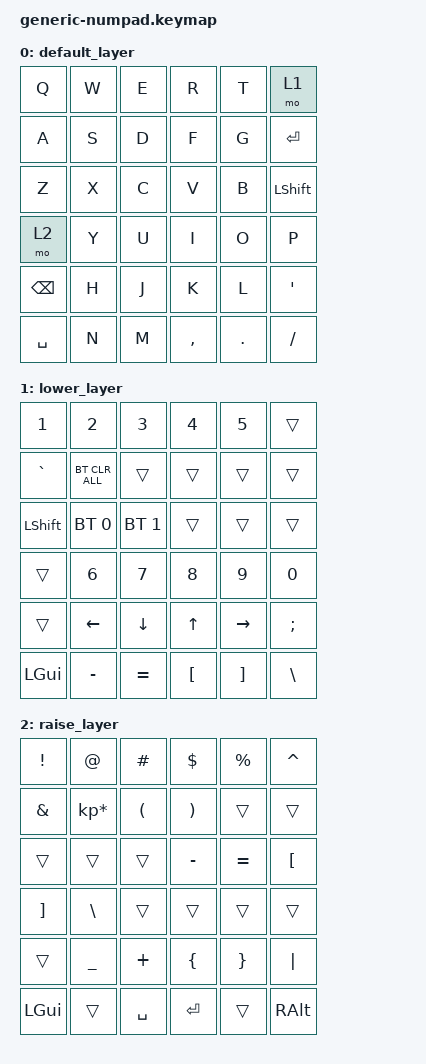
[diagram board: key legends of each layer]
/*
 * Copyright (c) 2020 The ZMK Contributors
 *
 * SPDX-License-Identifier: MIT
 */

#include <behaviors.dtsi>
#include <dt-bindings/zmk/bt.h>
#include <dt-bindings/zmk/keys.h>

/ {
    keymap {
        compatible = "zmk,keymap";

        default_layer {
            // -----------------------------------------------------------------------------------------
            // |      |  Q  |  W  |  E  |  R  |  T  |   |  Y  |  U   |  I  |  O  |  P  |      |
            // |      |  A  |  S  |  D  |  F  |  G  |   |  H  |  J   |  K  |  L  |  ;  |      |
            // |      |  Z  |  X  |  C  |  V  |  B  |   |  N  |  M   |  ,  |  .  |  /  |      |
            //                    | GUI | LWR | SPC |   | ENT | RSE  | ALT |

            bindings = <
&kp Q          &kp W  &kp E  &kp R      &kp T       &mo 1
&kp A          &kp S  &kp D  &kp F      &kp G       &kp ENTER
&kp Z          &kp X  &kp C  &kp V      &kp B       &kp LEFT_SHIFT
&mo 2          &kp Y  &kp U  &kp I      &kp O       &kp P
&kp BACKSPACE  &kp H  &kp J  &kp K      &kp L       &kp SQT
&kp SPACE      &kp N  &kp M  &kp COMMA  &kp PERIOD  &kp SLASH
            >;
        };

        lower_layer {
            // -----------------------------------------------------------------------------------------
            // |      |  1  |  2  |  3  |  4  |  5  |   |  6  |  7  |  8  |  9  |  0  |    P |
            // |      | BT1 | BT2 | BT3 | BT4 | BT5 |   | LFT | DWN |  UP | RGT |     |      |
            // |      |     |     |     |     |     |   |     |     |     |     |     |      |
            //                    | GUI |     | SPC |   | ENT |     | ALT |

            bindings = <
&kp N1          &kp N2          &kp N3        &kp N4            &kp N5             &trans
&kp GRAVE       &bt BT_CLR_ALL  &trans        &trans            &trans             &trans
&kp LEFT_SHIFT  &bt BT_SEL 0    &bt BT_SEL 1  &trans            &trans             &trans
&trans          &kp N6          &kp N7        &kp N8            &kp N9             &kp N0
&trans          &kp LEFT        &kp DOWN      &kp UP_ARROW      &kp RIGHT          &kp SEMICOLON
&kp LGUI        &kp MINUS       &kp EQUAL     &kp LEFT_BRACKET  &kp RIGHT_BRACKET  &kp BACKSLASH
            >;
        };

        raise_layer {
            // -----------------------------------------------------------------------------------------
            // |      |  !  |  @  |  #  |  $  |  %  |   |  ^  |  &  |  *  |  (  |  )  |      |
            // |      |     |     |     |     |     |   |  -  |  =  |  [  |  ]  |  \  |      |
            // |      |     |     |     |     |     |   |  _  |  +  |  {  |  }  | "|" |      |
            //                    | GUI |     | SPC |   | ENT |     | ALT |

            bindings = <
&kp EXCL  &kp AT           &kp HASH   &kp DLLR   &kp PRCNT  &kp CARET
&kp AMPS  &kp KP_MULTIPLY  &kp LPAR   &kp RPAR   &trans     &trans
&trans    &trans           &trans     &kp MINUS  &kp EQUAL  &kp LBKT
&kp RBKT  &kp BSLH         &trans     &trans     &trans     &trans
&trans    &kp UNDER        &kp PLUS   &kp LBRC   &kp RBRC   &kp PIPE
&kp LGUI  &trans           &kp SPACE  &kp RET    &trans     &kp RALT
            >;
        };
    };
};
